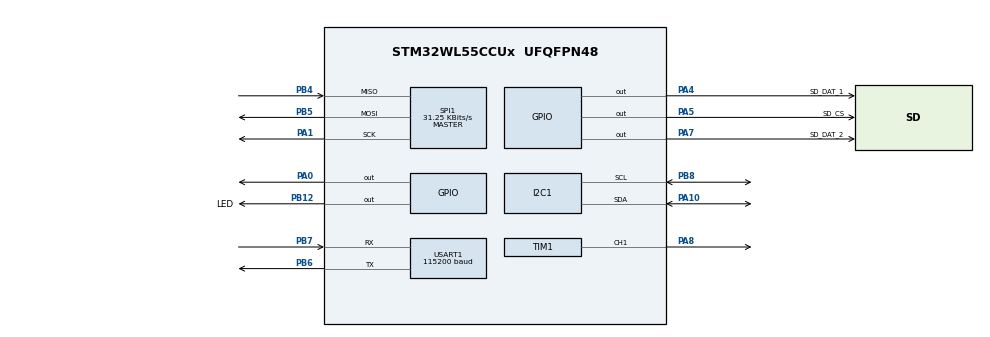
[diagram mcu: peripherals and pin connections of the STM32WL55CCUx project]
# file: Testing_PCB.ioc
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Mcu.Family=STM32WL
Mcu.Name=STM32WL55CCUx
Mcu.Package=UFQFPN48
NVIC.PriorityGroup=NVIC_PRIORITYGROUP_4
NVIC.USART1_IRQn=true\:0\:0\:false\:false\:true\:true\:true\:true
OSC_IN.Mode=HSE-External-Oscillator
OSC_IN.Signal=RCC_OSC_IN
OSC_OUT.Mode=HSE-External-Oscillator
OSC_OUT.Signal=RCC_OSC_OUT
PA0.GPIO_ModeDefaultOutputPP=GPIO_MODE_OUTPUT_OD
PA0.GPIO_PuPd=GPIO_NOPULL
PA0.Signal=GPIO_Output
PA1.GPIO_PuPd=GPIO_PULLUP
PA1.Mode=Full_Duplex_Master
PA1.Signal=SPI1_SCK
PA10.Mode=I2C
PA10.Signal=I2C1_SDA
PA4.GPIO_Label=SD_DAT_1
PA4.Signal=GPIO_Output
PA5.GPIO_Label=SD_CS
PA5.Signal=GPIO_Output
PA7.GPIO_Label=SD_DAT_2
PA7.GPIO_ModeDefaultOutputPP=GPIO_MODE_OUTPUT_PP
PA7.GPIO_PuPd=GPIO_NOPULL
PA7.Signal=GPIO_Output
PA8.Signal=S_TIM1_CH1
PB12.GPIO_Label=LED
PB12.Signal=GPIO_Output
PB4.GPIO_PuPd=GPIO_PULLUP
PB4.Mode=Full_Duplex_Master
PB4.Signal=SPI1_MISO
PB5.GPIO_PuPd=GPIO_PULLUP
PB5.Mode=Full_Duplex_Master
PB5.Signal=SPI1_MOSI
PB6.Mode=Asynchronous
PB6.Signal=USART1_TX
PB7.Mode=Asynchronous
PB7.Signal=USART1_RX
PB8.Mode=I2C
PB8.Signal=I2C1_SCL
PC14-OSC32_IN.Mode=LSE-External-Oscillator
PC14-OSC32_IN.Signal=RCC_OSC32_IN
PC15-OSC32_OUT.Mode=LSE-External-Oscillator
PC15-OSC32_OUT.Signal=RCC_OSC32_OUT
ProjectManager.HeapSize=0x200
ProjectManager.StackSize=0x400
ProjectManager.TargetToolchain=STM32CubeIDE
RCC.AHBFreq_Value=4000000
RCC.APB1Freq_Value=4000000
RCC.APB1TimFreq_Value=4000000
RCC.APB2Freq_Value=4000000
RCC.APB2TimFreq_Value=4000000
RCC.APB3Freq_Value=4000000
RCC.CortexFreq_Value=4000000
RCC.HCLKFreq_Value=4000000
RCC.HSE_VALUE=8000000
RCC.HSI_VALUE=16000000
RCC.LSE_VALUE=32768
RCC.MSIAutoCalibration=DISABLED
RCC.PLLN=6
RCC.PLLR=RCC_PLLR_DIV3
RCC.RTCClockSelection=RCC_RTCCLKSOURCE_LSE
RCC.SYSCLKFreq_VALUE=4000000
RCC.VCOOutputFreq_Value=24000000
RTC.BinMode=RTC_BINARY_NONE
SH.S_TIM1_CH1.0=TIM1_CH1,Output Compare1 CH1
SPI1.BaudRatePrescaler=SPI_BAUDRATEPRESCALER_128
SPI1.CalculateBaudRate=31.25 KBits/s
SPI1.DataSize=SPI_DATASIZE_8BIT
SPI1.Direction=SPI_DIRECTION_2LINES
SPI1.Mode=SPI_MODE_MASTER
SPI1.VirtualType=VM_MASTER
TIM1.Channel-Output\ Compare1\ CH1=TIM_CHANNEL_1
USART1.BaudRate=115200
USART1.Mode=MODE_TX_RX
USART1.SwapParam=ADVFEATURE_SWAP_DISABLE
USART1.VirtualMode-Asynchronous=VM_ASYNC
VP_FATFS_VS_Generic.Mode=User_defined
VP_RTC_VS_RTC_Activate.Mode=RTC_Enabled
VP_TIM1_VS_ClockSourceITR.Mode=TriggerSource_ITR0
board=custom

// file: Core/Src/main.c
/* USER CODE BEGIN Header */
/**
  ******************************************************************************
  * @file           : main.c
  * @brief          : Main program body
  ******************************************************************************
  * @attention
  *
  * Copyright (c) 2024 STMicroelectronics.
  * All rights reserved.
  *
  * This software is licensed under terms that can be found in the LICENSE file
  * in the root directory of this software component.
  * If no LICENSE file comes with this software, it is provided AS-IS.
  *
  ******************************************************************************
  */
/* USER CODE END Header */
#include "main.h"
#include "app_fatfs.h"
#include "i2c.h"
#include "rtc.h"
#include "spi.h"
#include "tim.h"
#include "usart.h"
#include "gpio.h"

/* USER CODE BEGIN Includes */
#include <stdio.h>
#include <string.h>
#include <stdarg.h> //for va_list var arg functions
#include "icm20948.h"
#include <time.h>
/* USER CODE END Includes */

/* USER CODE BEGIN PD */
#define RX_BUFFER_SIZE 10  // Define the size of the receive buffer

/* USER CODE END PD */

/* USER CODE BEGIN PM */
		uint8_t rx_buff[RX_BUFFER_SIZE];
//		uint8_t tx_buff[]={0,1,2,3,4,5,6,7,8,9};
		int status = 0;
		axises data;

/* USER CODE END PM */

/* USER CODE BEGIN PV */
char RxBuffer[32]; // Buffer to store received data
volatile int timeReceived = 0; // Flag to check if time is received
/* USER CODE END PV */

void SystemClock_Config(void);
/* USER CODE BEGIN PFP */
void processTime(char* timeString);
int  waitForUartData(UART_HandleTypeDef *huart);
void UART_SendFixedStringEveryFiveSeconds(UART_HandleTypeDef *huart);
int UART_ReceiveAndPrint(UART_HandleTypeDef *huart);

/* USER CODE END PFP */

/* USER CODE BEGIN 0 */

void adjustTimeToPST(struct tm *time_tm, bool isDST) {
    int offset = isDST ? -7 : -8;  // PDT during DST, PST otherwise
    time_tm->tm_hour += offset;  // Adjust hours based on whether DST is in effect

    // Normalize the tm structure
    time_t temp = mktime(time_tm);
    *time_tm = *localtime(&temp);
}

void updateDataAndWriteToSD(void) {

    FIL fil;
    FRESULT fres;
    char readBuf[62];  // Increased buffer size to accommodate date-time and sensor data

    // Fetch current time from RTC
    RTC_TimeTypeDef sTime;
    RTC_DateTypeDef sDate;
    HAL_RTC_GetTime(&hrtc, &sTime, RTC_FORMAT_BCD);
    HAL_RTC_GetDate(&hrtc, &sDate, RTC_FORMAT_BCD);  // This line must be after GetTime

    // Open or create the file for writing
    fres = f_open(&fil, "data.txt", FA_WRITE | FA_OPEN_ALWAYS | FA_OPEN_APPEND);
    if (fres == FR_OK) {

        // Read accelerometer data
        icm20948_accel_read(&data);

        // Convert BCD to binary
        uint8_t hour = (sTime.Hours & 0xF) + ((sTime.Hours >> 4) * 10);
        uint8_t min = (sTime.Minutes & 0xF) + ((sTime.Minutes >> 4) * 10);
        uint8_t sec = (sTime.Seconds & 0xF) + ((sTime.Seconds >> 4) * 10);
        uint8_t year = (sDate.Year & 0xF) + ((sDate.Year >> 4) * 10);
        uint8_t month = (sDate.Month & 0xF) + ((sDate.Month >> 4) * 10);
        uint8_t date = (sDate.Date & 0xF) + ((sDate.Date >> 4) * 10);

        // Format date, time, and accelerometer data into a string
        snprintf(readBuf, sizeof(readBuf), "%04d-%02d-%02d %02d:%02d:%02d - X: %f, Y: %f, Z: %f\r\n",
                 year + 2000, month, date,
                 hour, min, sec,
                 data.x, data.y, data.z);
    }
    else
    {
    	status = -1;
    }

        // Write the formatted string to the file
        UINT bytesWrote;
        fres = f_write(&fil, readBuf, strlen(readBuf), &bytesWrote);
        if (fres == FR_OK) {

            HAL_GPIO_TogglePin(LED_GPIO_Port, LED_Pin);
            HAL_Delay(500);
        }
        else
        {
        	status = -1;
        }

        // Close the file
        f_close(&fil);
}

// Definition of the binary to BCD conversion function
uint8_t BinToBCD(uint8_t bin) {
    return ((bin / 10) << 4) | (bin % 10);
}

void updateRTCFromBuffer(uint8_t *rx_buff) {
    char strTimestamp[13];
    memcpy(strTimestamp, rx_buff, 12);  // Assume rx_buff has at least 12 bytes
    strTimestamp[12] = '\0';

    uint32_t epochTime = strtoul(strTimestamp, NULL, 10);
    time_t now = epochTime;
    struct tm *time_tm = localtime(&now);
    bool dst_active = time_tm->tm_isdst > 0;  // Check if DST is currently active
    adjustTimeToPST(time_tm, dst_active);

    RTC_TimeTypeDef sTime;
    RTC_DateTypeDef sDate;

    // Disable write protection
    __HAL_RTC_WRITEPROTECTION_DISABLE(&hrtc);

    // Clear RSF flag
    __HAL_RTC_CLEAR_FLAG(&hrtc, RTC_FLAG_RSF);

    // Set time
    sTime.Hours = BinToBCD(time_tm->tm_hour);
    sTime.Minutes = BinToBCD(time_tm->tm_min);
    sTime.Seconds = BinToBCD(time_tm->tm_sec);
    sTime.TimeFormat = RTC_HOURFORMAT12_AM;
    if (HAL_RTC_SetTime(&hrtc, &sTime, RTC_FORMAT_BCD) != HAL_OK) {
    	status = -1;
        // Error handling
    }

    // Set date
    sDate.WeekDay = BinToBCD(time_tm->tm_wday ? time_tm->tm_wday : 7);
    sDate.Month = BinToBCD(time_tm->tm_mon + 1);
    sDate.Date = BinToBCD(time_tm->tm_mday);
    sDate.Year = BinToBCD((time_tm->tm_year + 1900) - 2000);
    if (HAL_RTC_SetDate(&hrtc, &sDate, RTC_FORMAT_BCD) != HAL_OK) {
        // Error handling
    	status = -1;
    }

    // Wait for RSF flag to be set
//    while(__HAL_RTC_GET_FLAG(&hrtc, RTC_FLAG_RSF) == RESET) {
//        // This loop will wait until the RSF flag is set
//    }

    // Enable write protection
    __HAL_RTC_WRITEPROTECTION_ENABLE(&hrtc);

    // Synchronize RTC
//    HAL_RTC_WaitForSynchro(&hrtc);
}

void HAL_UART_RxCpltCallback(UART_HandleTypeDef *huart)
{
	if (huart->Instance == USART1) {
	        // Assuming that a complete timestamp is always exactly 16 bytes
//	        HAL_UART_Receive_IT(&huart1, rx_buff, 12); // Re-enable UART receive interrupt
	        status = 1;
	        // Now process the buffer to update RTC
	        updateRTCFromBuffer(rx_buff);
	    }
}

/* USER CODE END 0 */

int main(void)
{

  /* MCU Configuration--------------------------------------------------------*/

  /* Reset of all peripherals, Initializes the Flash interface and the Systick. */
  HAL_Init();

  /* Configure the system clock */
  SystemClock_Config();

  /* USER CODE BEGIN SysInit */
  HAL_ResumeTick();

  /* USER CODE END SysInit */

  /* Initialize all configured peripherals */
  MX_GPIO_Init();
  MX_FATFS_Init();
  MX_SPI1_Init();
  MX_USART1_UART_Init();
  MX_RTC_Init();
  MX_TIM1_Init();
  MX_I2C1_Init();
  /* USER CODE BEGIN 2 */

  HAL_GPIO_WritePin(SD_DAT_2_GPIO_Port, SD_DAT_2_Pin, GPIO_PIN_RESET);
  HAL_GPIO_WritePin(SD_DAT_1_GPIO_Port, SD_DAT_1_Pin, GPIO_PIN_RESET);

  HAL_GPIO_WritePin(GPIOA, GPIO_PIN_0, GPIO_PIN_RESET);

  icm20948_init();
	HAL_GPIO_TogglePin (LED_GPIO_Port, LED_Pin);  // toggle LED
	HAL_Delay(1000);

	//some variables for FatFs
	FATFS FatFs; 	//Fatfs handle
	FRESULT fres; //Result after operations

	//Open the file system
	fres = f_mount(&FatFs, "", 1); //1=mount now
	if (fres != FR_OK) {
//	printf("f_mount error (%i)\r\n", fres);
	}

	else
	{
    	HAL_GPIO_TogglePin (LED_GPIO_Port, LED_Pin);  // toggle LED
    	HAL_Delay(1000);
//    	printf("Success MOuint\n");
	}
	HAL_UART_Receive_IT(&huart1, rx_buff, RX_BUFFER_SIZE);
//

  /* USER CODE END 2 */

  /* Infinite loop */
  /* USER CODE BEGIN WHILE */

 while (1)
 {
	 int isToggledOn = 0;

	 if (status == 1)
	 {
		 if (isToggledOn == 1)
		 {
			 isToggledOn = 0;
		 }
		 updateDataAndWriteToSD();

	 }
	 else if(!isToggledOn && status == -1)
	 {
	    	HAL_GPIO_TogglePin (LED_GPIO_Port, LED_Pin);  // toggle LED
	    	isToggledOn = 0;
	 }
//    /* USER CODE END WHILE */

    /* USER CODE BEGIN 3 */

  }
	// f_mount(NULL, "", 0);

  /* USER CODE END 3 */
}

void SystemClock_Config(void)
{
  RCC_OscInitTypeDef RCC_OscInitStruct = {0};
  RCC_ClkInitTypeDef RCC_ClkInitStruct = {0};

  /** Configure LSE Drive Capability
  */
  HAL_PWR_EnableBkUpAccess();
  __HAL_RCC_LSEDRIVE_CONFIG(RCC_LSEDRIVE_LOW);

  /** Configure the main internal regulator output voltage
  */
  __HAL_PWR_VOLTAGESCALING_CONFIG(PWR_REGULATOR_VOLTAGE_SCALE2);

  /** Initializes the CPU, AHB and APB buses clocks
  */
  RCC_OscInitStruct.OscillatorType = RCC_OSCILLATORTYPE_LSE|RCC_OSCILLATORTYPE_MSI;
  RCC_OscInitStruct.LSEState = RCC_LSE_ON;
  RCC_OscInitStruct.MSIState = RCC_MSI_ON;
  RCC_OscInitStruct.MSICalibrationValue = RCC_MSICALIBRATION_DEFAULT;
  RCC_OscInitStruct.MSIClockRange = RCC_MSIRANGE_6;
  RCC_OscInitStruct.PLL.PLLState = RCC_PLL_NONE;
  if (HAL_RCC_OscConfig(&RCC_OscInitStruct) != HAL_OK)
  {
    Error_Handler();
  }

  /** Configure the SYSCLKSource, HCLK, PCLK1 and PCLK2 clocks dividers
  */
  RCC_ClkInitStruct.ClockType = RCC_CLOCKTYPE_HCLK3|RCC_CLOCKTYPE_HCLK
                              |RCC_CLOCKTYPE_SYSCLK|RCC_CLOCKTYPE_PCLK1
                              |RCC_CLOCKTYPE_PCLK2;
  RCC_ClkInitStruct.SYSCLKSource = RCC_SYSCLKSOURCE_MSI;
  RCC_ClkInitStruct.AHBCLKDivider = RCC_SYSCLK_DIV1;
  RCC_ClkInitStruct.APB1CLKDivider = RCC_HCLK_DIV1;
  RCC_ClkInitStruct.APB2CLKDivider = RCC_HCLK_DIV1;
  RCC_ClkInitStruct.AHBCLK3Divider = RCC_SYSCLK_DIV1;

  if (HAL_RCC_ClockConfig(&RCC_ClkInitStruct, FLASH_LATENCY_0) != HAL_OK)
  {
    Error_Handler();
  }
}

/* USER CODE BEGIN 4 */
/* USER CODE BEGIN 4 */

//#ifdef __GNUC__
//#define PUTCHAR_PROTOTYPE int __io_putchar(int ch)
//#else
//#define PUTCHAR_PROTOTYPE int fputc(int ch, FILE *f)
//#endif
//
//PUTCHAR_PROTOTYPE
//{
//  HAL_UART_Transmit(&huart1, (uint8_t *)&ch, 1, HAL_MAX_DELAY);
//  return ch;
//}
/* USER CODE END 4 */

void Error_Handler(void)
{
  __disable_irq();
  while (1)
  {
  }
}
